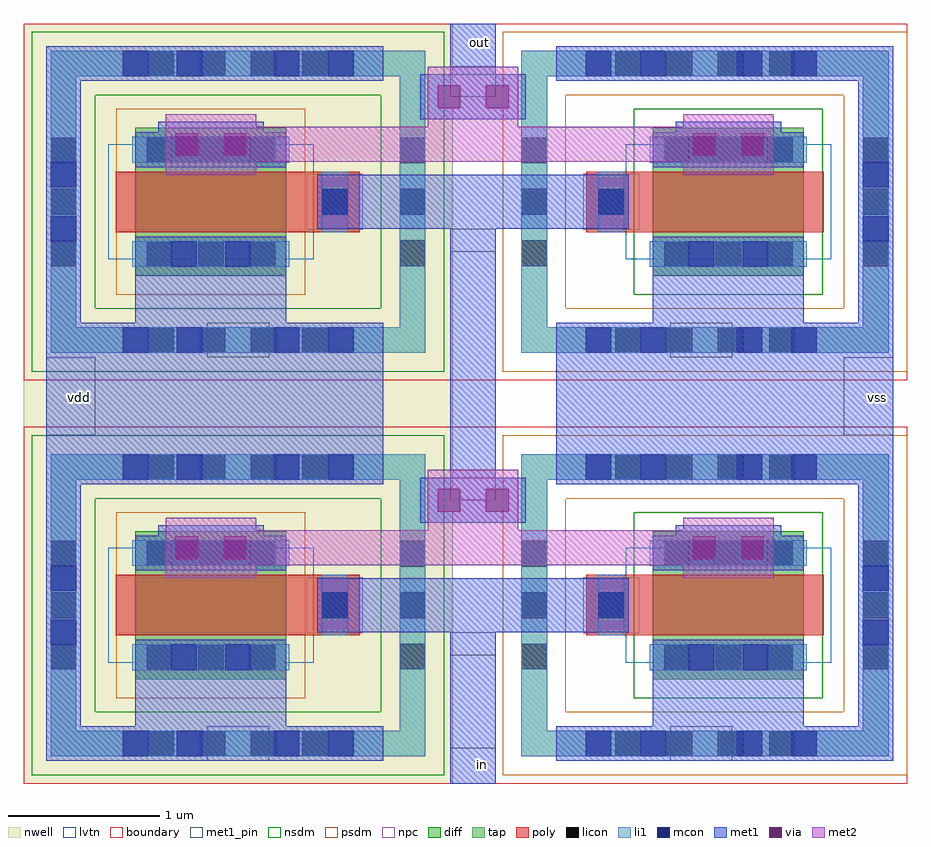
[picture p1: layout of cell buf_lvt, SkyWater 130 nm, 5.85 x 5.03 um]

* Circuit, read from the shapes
.subckt buf_lvt in out vdd vss
XM1 inv_lvt$1_0/in in vss vss sky130_fd_pr__nfet_01v8_lvt w=1 l=0.4
XM2 out inv_lvt$1_0/in vss vss sky130_fd_pr__nfet_01v8_lvt w=1 l=0.4
XM3 inv_lvt$1_0/in in vdd vdd sky130_fd_pr__pfet_01v8_lvt w=1 l=0.4
XM4 out inv_lvt$1_0/in vdd vdd sky130_fd_pr__pfet_01v8_lvt w=1 l=0.4
.ends

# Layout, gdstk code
from math import pi, radians
import gdstk
lib = gdstk.Library(unit=1e-6, precision=1e-09)
def R(c, l, rs):  # rectangles x0, y0, x1, y1
    for r in rs: c.add(gdstk.rectangle(r[:2], r[2:], *l))
def A(c, l, x, y, w, h, nx, ny, dx, dy):  # array of equal rectangles
    R(c, l, [(x+i*dx, y+j*dy, x+i*dx+w, y+j*dy+h) for i in range(nx) for j in range(ny)])
nwell = (64, 20)
diff = (65, 20)
tap = (65, 44)
poly = (66, 20)
licon = (66, 44)
li1 = (67, 20)
mcon = (67, 44)
met1_pin = (68, 16)
met1 = (68, 20)
via = (68, 44)
met2 = (69, 20)
nsdm = (93, 44)
psdm = (94, 20)
npc = (95, 20)
lvtn = (125, 44)
boundary = (235, 4)

sky130_fd_pr__nfet_01v8_ = lib.new_cell('sky130_fd_pr__nfet_01v8_lvt_L2Z8RD')
R(sky130_fd_pr__nfet_01v8_, diff, [(-0.345,-0.49,0.655,0.49)])
R(sky130_fd_pr__nfet_01v8_, tap, [(-1.215,-1,-1.045,1), (-1.045,-1,1.045,-0.83), (1.045,-1,1.215,1), (-1.045,0.83,1.045,1)])
R(sky130_fd_pr__nfet_01v8_, poly, [(-0.785,-0.2,0.785,0.2)])
A(sky130_fd_pr__nfet_01v8_, licon, -0.595, -1, 0.17, 0.17, 4, 2, 0.34, 1.83)
A(sky130_fd_pr__nfet_01v8_, licon, -0.27, -0.43, 0.17, 0.17, 3, 2, 0.34, 0.69)
A(sky130_fd_pr__nfet_01v8_, licon, -1.215, -0.425, 0.17, 0.17, 1, 3, 0, 0.34)
A(sky130_fd_pr__nfet_01v8_, licon, 1.045, -0.425, 0.17, 0.17, 1, 3, 0, 0.34)
R(sky130_fd_pr__nfet_01v8_, licon, [(-0.705,-0.085,-0.535,0.085)])
R(sky130_fd_pr__nfet_01v8_, li1, [(-1.215,-1,-1.045,1), (-1.045,-1,1.045,-0.83), (1.045,-1,1.215,1), (-0.365,-0.43,0.675,-0.26), (-0.705,-0.2,-0.535,0.2), (-0.365,0.26,0.675,0.43), (-1.045,0.83,1.045,1)])
R(sky130_fd_pr__nfet_01v8_, mcon, [(-0.11,-0.43,0.06,-0.26), (0.25,-0.43,0.42,-0.26), (-0.705,-0.085,-0.535,0.085), (-0.11,0.26,0.06,0.43), (0.25,0.26,0.42,0.43)])
R(sky130_fd_pr__nfet_01v8_, met1, [(-0.345,-0.46,0.655,-0.23), (-0.735,-0.18,-0.505,0.18), (-0.345,0.23,0.655,0.46)])
R(sky130_fd_pr__nfet_01v8_, nsdm, [(-0.47,-0.615,0.78,0.615)])
R(sky130_fd_pr__nfet_01v8_, psdm, [(-1.34,-1.125,-0.92,1.125), (-0.92,-1.125,0.92,-0.705), (0.92,-1.125,1.34,1.125), (-0.92,0.705,0.92,1.125)])
R(sky130_fd_pr__nfet_01v8_, npc, [(-0.805,-0.185,-0.435,0.185)])
R(sky130_fd_pr__nfet_01v8_, lvtn, [(-0.525,-0.38,0.835,0.38)])
R(sky130_fd_pr__nfet_01v8_, boundary, [(-1.13,-0.915,1.13,0.915)])

via1 = lib.new_cell('via1')
R(via1, li1, [(-0.2,0.03,-0.03,0.56)])
R(via1, mcon, [(-0.2,0.03,-0.03,0.2), (-0.2,0.39,-0.03,0.56)])
R(via1, met1, [(-0.23,0,0,0.59)])

sky130_fd_pr__pfet_01v8_ = lib.new_cell('sky130_fd_pr__pfet_01v8_lvt_CS9SBA')
R(sky130_fd_pr__pfet_01v8_, nwell, [(-1.42,-1.18,1.42,1.18)])
R(sky130_fd_pr__pfet_01v8_, diff, [(-0.68,-0.49,0.32,0.49)])
R(sky130_fd_pr__pfet_01v8_, tap, [(-1.24,-1,-1.07,1), (-1.07,-1,1.07,-0.83), (1.07,-1,1.24,1), (-1.07,0.83,1.07,1)])
R(sky130_fd_pr__pfet_01v8_, poly, [(-0.81,-0.2,0.805,0.2)])
A(sky130_fd_pr__pfet_01v8_, licon, -0.595, -1, 0.17, 0.17, 4, 2, 0.34, 1.83)
A(sky130_fd_pr__pfet_01v8_, licon, -0.605, -0.43, 0.17, 0.17, 3, 2, 0.34, 0.69)
A(sky130_fd_pr__pfet_01v8_, licon, -1.24, -0.425, 0.17, 0.17, 1, 3, 0, 0.34)
A(sky130_fd_pr__pfet_01v8_, licon, 1.07, -0.425, 0.17, 0.17, 1, 3, 0, 0.34)
R(sky130_fd_pr__pfet_01v8_, licon, [(0.555,-0.085,0.725,0.085)])
R(sky130_fd_pr__pfet_01v8_, li1, [(-1.24,-1,-1.07,1), (-1.07,-1,1.07,-0.83), (1.07,-1,1.24,1), (-0.7,-0.43,0.34,-0.26), (0.555,-0.2,0.725,0.2), (-0.7,0.26,0.34,0.43), (-1.07,0.83,1.07,1)])
R(sky130_fd_pr__pfet_01v8_, mcon, [(-0.445,-0.43,-0.275,-0.26), (-0.085,-0.43,0.085,-0.26), (0.555,-0.085,0.725,0.085), (-0.445,0.26,-0.275,0.43), (-0.085,0.26,0.085,0.43)])
R(sky130_fd_pr__pfet_01v8_, met1, [(-0.68,-0.46,0.32,-0.23), (0.525,-0.18,0.755,0.18), (-0.68,0.23,0.32,0.46)])
R(sky130_fd_pr__pfet_01v8_, nsdm, [(-1.365,-1.125,-0.945,1.125), (-0.945,-1.125,0.945,-0.705), (0.945,-1.125,1.365,1.125), (-0.945,0.705,0.945,1.125)])
R(sky130_fd_pr__pfet_01v8_, psdm, [(-0.805,-0.615,0.445,0.615)])
R(sky130_fd_pr__pfet_01v8_, npc, [(0.455,-0.185,0.825,0.185)])
R(sky130_fd_pr__pfet_01v8_, lvtn, [(-0.86,-0.38,0.5,0.38)])
R(sky130_fd_pr__pfet_01v8_, boundary, [(-1.155,-0.915,1.155,0.915)])

via2 = lib.new_cell('via2')
R(via2, met1, [(-0.35,0,-0.05,0.7)])
R(via2, via, [(-0.275,0.115,-0.125,0.265), (-0.275,0.435,-0.125,0.585)])
R(via2, met2, [(-0.4,0.05,0,0.65)])

inv_lvt_1 = lib.new_cell('inv_lvt$1')
R(inv_lvt_1, met1_pin, [(-4.635,0.15,-4.225,0.38), (-1.57,0.15,-1.16,0.38), (-3.025,0.85,-2.725,1), (-3.025,1.875,-2.725,2.025)])
R(inv_lvt_1, met1, [(-5.11,0.38,-4.11,0.95), (-1.685,0.38,-0.685,0.95), (-3.025,0.85,-2.725,1), (-3.905,1,-1.845,1.36), (-3.025,1.875,-2.725,2.025)])
R(inv_lvt_1, boundary, [(-5.85,0,0,2.36)])
inv_lvt_1.add(gdstk.FlexPath([(-3.585,0.265),(-5.585,0.265)], 0.23, ends="extended", simple_path=True, layer=68, datatype=20))  # met1
inv_lvt_1.add(gdstk.FlexPath([(-5.585,0.265),(-5.585,2.095)], 0.23, ends="extended", simple_path=True, layer=68, datatype=20))  # met1
inv_lvt_1.add(gdstk.FlexPath([(-3.585,2.095),(-5.585,2.095)], 0.23, ends="extended", simple_path=True, layer=68, datatype=20))  # met1
inv_lvt_1.add(gdstk.FlexPath([(-2.21,0.265),(-0.21,0.265)], 0.23, ends="extended", simple_path=True, layer=68, datatype=20))  # met1
inv_lvt_1.add(gdstk.FlexPath([(-0.21,0.265),(-0.21,2.095)], 0.23, ends="extended", simple_path=True, layer=68, datatype=20))  # met1
inv_lvt_1.add(gdstk.FlexPath([(-2.21,2.095),(-0.21,2.095)], 0.23, ends="extended", simple_path=True, layer=68, datatype=20))  # met1
inv_lvt_1.add(gdstk.FlexPath([(-4.195,1.56),(-1.6,1.56)], 0.23, ends="extended", simple_path=True, layer=69, datatype=20))  # met2
inv_lvt_1.add(gdstk.Reference(sky130_fd_pr__nfet_01v8_, (-1.34,1.18)))
inv_lvt_1.add(gdstk.Reference(via1, (-4.225,0.15), rotation=3*pi/2))
inv_lvt_1.add(gdstk.Reference(via1, (-5.225,0.15), rotation=3*pi/2))
inv_lvt_1.add(gdstk.Reference(via1, (-4.225,1.98), rotation=3*pi/2))
inv_lvt_1.add(gdstk.Reference(via1, (-5.225,1.98), rotation=3*pi/2))
inv_lvt_1.add(gdstk.Reference(via1, (-5.7,1.475), rotation=pi))
inv_lvt_1.add(gdstk.Reference(via1, (-1.57,0.15), rotation=3*pi/2, x_reflection=True))
inv_lvt_1.add(gdstk.Reference(sky130_fd_pr__pfet_01v8_, (-4.43,1.18)))
inv_lvt_1.add(gdstk.Reference(via1, (-0.57,0.15), rotation=3*pi/2, x_reflection=True))
inv_lvt_1.add(gdstk.Reference(via1, (-1.57,1.98), rotation=3*pi/2, x_reflection=True))
inv_lvt_1.add(gdstk.Reference(via1, (-0.57,1.98), rotation=3*pi/2, x_reflection=True))
inv_lvt_1.add(gdstk.Reference(via1, (-0.095,1.475), x_reflection=True))
inv_lvt_1.add(gdstk.Reference(via2, (-4.96,1.36), rotation=3*pi/2))
inv_lvt_1.add(gdstk.Reference(via2, (-1.535,1.36), rotation=3*pi/2))
inv_lvt_1.add(gdstk.Reference(via2, (-2.525,2.075), rotation=pi/2))
inv_lvt_1.add(gdstk.Label('vss', (-1.356,0.266), layer=68, texttype=16))
inv_lvt_1.add(gdstk.Label('vdd', (-4.42,0.27), layer=68, texttype=16))
inv_lvt_1.add(gdstk.Label('out', (-2.875,1.965), layer=68, texttype=16))
inv_lvt_1.add(gdstk.Label('in', (-2.875,0.905), layer=68, texttype=16))

buf_lvt = lib.new_cell('buf_lvt')
R(buf_lvt, nwell, [(-5.85,0,-3.01,5.03)])
R(buf_lvt, met1_pin, [(-3.025,0,-2.725,0.235), (-5.7,2.305,-5.375,2.82), (-0.42,2.305,-0.095,2.82), (-3.025,4.745,-2.725,5.03)])
R(buf_lvt, met1, [(-3.025,0,-2.725,0.85), (-5.7,1.98,-3.47,3.05), (-2.325,1.98,-0.095,3.05), (-3.025,2.025,-2.725,3.52), (-3.025,4.695,-2.725,5.03)])
buf_lvt.add(gdstk.Reference(inv_lvt_1, (0,2.67)))
buf_lvt.add(gdstk.Reference(inv_lvt_1, (0,0)))
buf_lvt.add(gdstk.Label('in', (-2.81,0.125), layer=68, texttype=16))
buf_lvt.add(gdstk.Label('out', (-2.83,4.905), layer=68, texttype=16))
buf_lvt.add(gdstk.Label('vss', (-0.2,2.555), layer=68, texttype=16))
buf_lvt.add(gdstk.Label('vdd', (-5.48,2.555), layer=68, texttype=16))

lib.write_gds('buf_lvt.gds')
